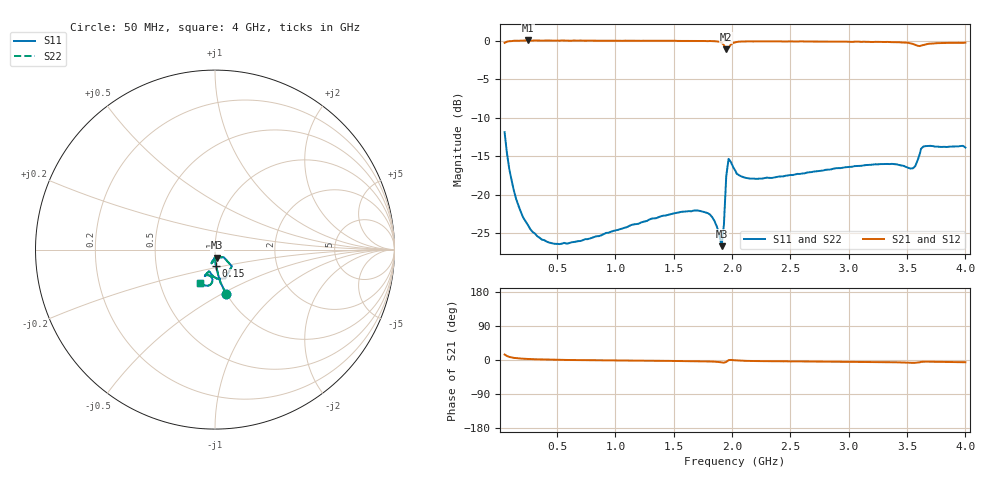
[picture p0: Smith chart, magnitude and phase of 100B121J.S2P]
!  American Technical Ceramics  Date:  3/13/98
!  One Norden Lane
!  Huntington Station,  NY.  11746-2102
!  Tel:  (516) 547-5700  Fax:  (516) 547-5748
!  Part Number  100b121j
!  Description: Porcelain, High Q, Low ESR
!  Application: Bypass, Coupling, Timing, Feedback
!  Tuning, Impedance Match, Blocking
# GHZ S DB R 50
! Freq  |S11|  S11 Ph  |S21|  S21 Ph  |S12|  S12 Ph  |S22|  S22 Ph
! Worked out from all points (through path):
!   201 points, 50 MHz to 4 GHz, reference 50 ohm
!   highest |S21| = 0.02 dB at 250 MHz (marker M1); lowest = -1.1 dB at 1.95 GHz (marker M2)
!   group delay of S21, straight-line fit = 6.39 ps
!   lowest |S11| = -26.7 dB at 1.91 GHz (marker M3), VSWR 1.10, Z = 51 - j4.57 ohm
!   |S11| at or under -10 dB: start of sweep to end of sweep
!   |S22| runs from -26.7 to -11.9 dB; largest |S21 - S12| = 0
!   S11 on the Smith chart (normalised r, x): 50 MHz: 0.99, -0.52; 150 MHz: 0.99, -0.19; 4 GHz: 0.80, -0.31
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0.05  -11.90 -75.9  -0.29 14.4  -0.29 14.4  -11.90 -75.9
0.09  -16.67 -82.7  -0.08 8.2  -0.08 8.2  -16.67 -82.7
0.15  -20.62 -86.5  -0.01 4.9  -0.01 4.9  -20.62 -86.5
0.25  -23.95 -88.3  0.02 2.7  0.02 2.7  -23.95 -88.3
0.33  -25.40 -89.7  0.01 1.8  0.01 1.8  -25.40 -89.7
0.43  -26.23 -91.4  0.01 1.1  0.01 1.1  -26.23 -91.4
0.72  -25.93 -94.6  0.00 -0.3  0.00 -0.3  -25.93 -94.6
1.37  -22.93 -101.0  -0.02 -2.1  -0.02 -2.1  -22.93 -101.0
1.67  -22.08 -103.8  -0.04 -3.1  -0.04 -3.1  -22.08 -103.8
1.79  -22.40 -104.4  -0.07 -3.9  -0.07 -3.9  -22.40 -104.4
1.87  -24.17 -100.6  -0.10 -4.9  -0.10 -4.9  -24.17 -100.6
1.91  -26.70 -75.5  -0.27 -6.2  -0.27 -6.2  -26.70 -75.5
1.93  -23.89 -41.2  -0.58 -7.1  -0.58 -7.1  -23.89 -41.2
1.95  -17.60 -44.6  -1.13 -5.0  -1.13 -5.0  -17.60 -44.6
1.97  -15.36 -70.2  -0.93 -0.4  -0.93 -0.4  -15.36 -70.2
2.03  -16.97 -97.2  -0.22 -0.9  -0.22 -0.9  -16.97 -97.2
2.2  -17.95 -104.8  -0.09 -2.7  -0.09 -2.7  -17.95 -104.8
2.7  -17.01 -108.8  -0.11 -4.0  -0.11 -4.0  -17.01 -108.8
3.35  -16.04 -111.1  -0.19 -5.8  -0.19 -5.8  -16.04 -111.1
3.55  -16.59 -102.0  -0.43 -7.5  -0.43 -7.5  -16.59 -102.0
3.64  -13.76 -101.2  -0.57 -4.5  -0.57 -4.5  -13.76 -101.2
4  -13.89 -113.7  -0.26 -5.9  -0.26 -5.9  -13.89 -113.7
